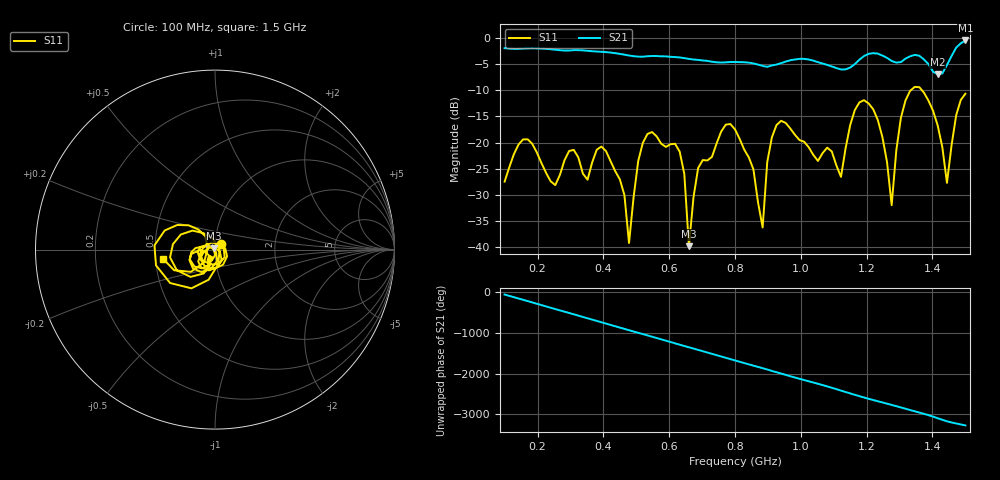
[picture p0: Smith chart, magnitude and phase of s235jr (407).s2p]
! NanoVNA-App
! Date: 2025-09-25 15:07:20
! Start: 100MHz Stop: 1,5GHz Points: 101
! S-Parameter data: F S11 S21 S12 S22
# Hz S RI R 50
!  Frequency  S11_Real  S11_Imag  S21_Real  S21_Imag  S12_Real  S12_Imag  S22_Real  S22_Imag
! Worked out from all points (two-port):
!   101 points, 100 MHz to 1.5 GHz, reference 50 ohm
!   highest |S21| = -0.49 dB at 1.5 GHz (marker M1); lowest = -7.0 dB at 1.416 GHz (marker M2)
!   |S21| within 3 dB of the highest: start of sweep to 490.8 MHz; 1.192 GHz to 1.252 GHz (59.91 MHz wide, 4.9 % of centre) (the widest 2 of 5)
!   lowest |S11| = -39.8 dB at 660 MHz (marker M3), VSWR 1.02, Z = 49.2 + j0.632 ohm
!   |S11| at or under -10 dB: start of sweep to 1.334 GHz; 1.368 GHz to end of sweep
!   S12 and S22 are empty: the file has one direction only
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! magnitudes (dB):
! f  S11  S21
! 100 MHz  -27.5  -2.0
! 156 MHz  -19.4  -2.0
! 338 MHz  -26.0  -2.4
! 408 MHz  -21.6  -2.7
! 478 MHz  -39.2  -3.4
! 520 MHz  -20.0  -3.6
! 576 MHz  -20.2  -3.5
! 632 MHz  -21.7  -3.7
! 660 MHz  -39.8  -4.0
! 688 MHz  -24.9  -4.2
! 800 MHz  -17.5  -4.6
! 884 MHz  -36.2  -5.4
! 926 MHz  -16.7  -5.1
! 1.038 GHz  -22.4  -4.3
! 1.122 GHz  -26.6  -6.0
! 1.192 GHz  -11.9  -3.5
! 1.248 GHz  -19.0  -3.4
! 1.276 GHz  -32.0  -4.4
! 1.332 GHz  -10.1  -3.5
! 1.416 GHz  -16.8  -7.0
! 1.444 GHz  -27.7  -5.2
! 1.5 GHz  -10.7  -0.5
